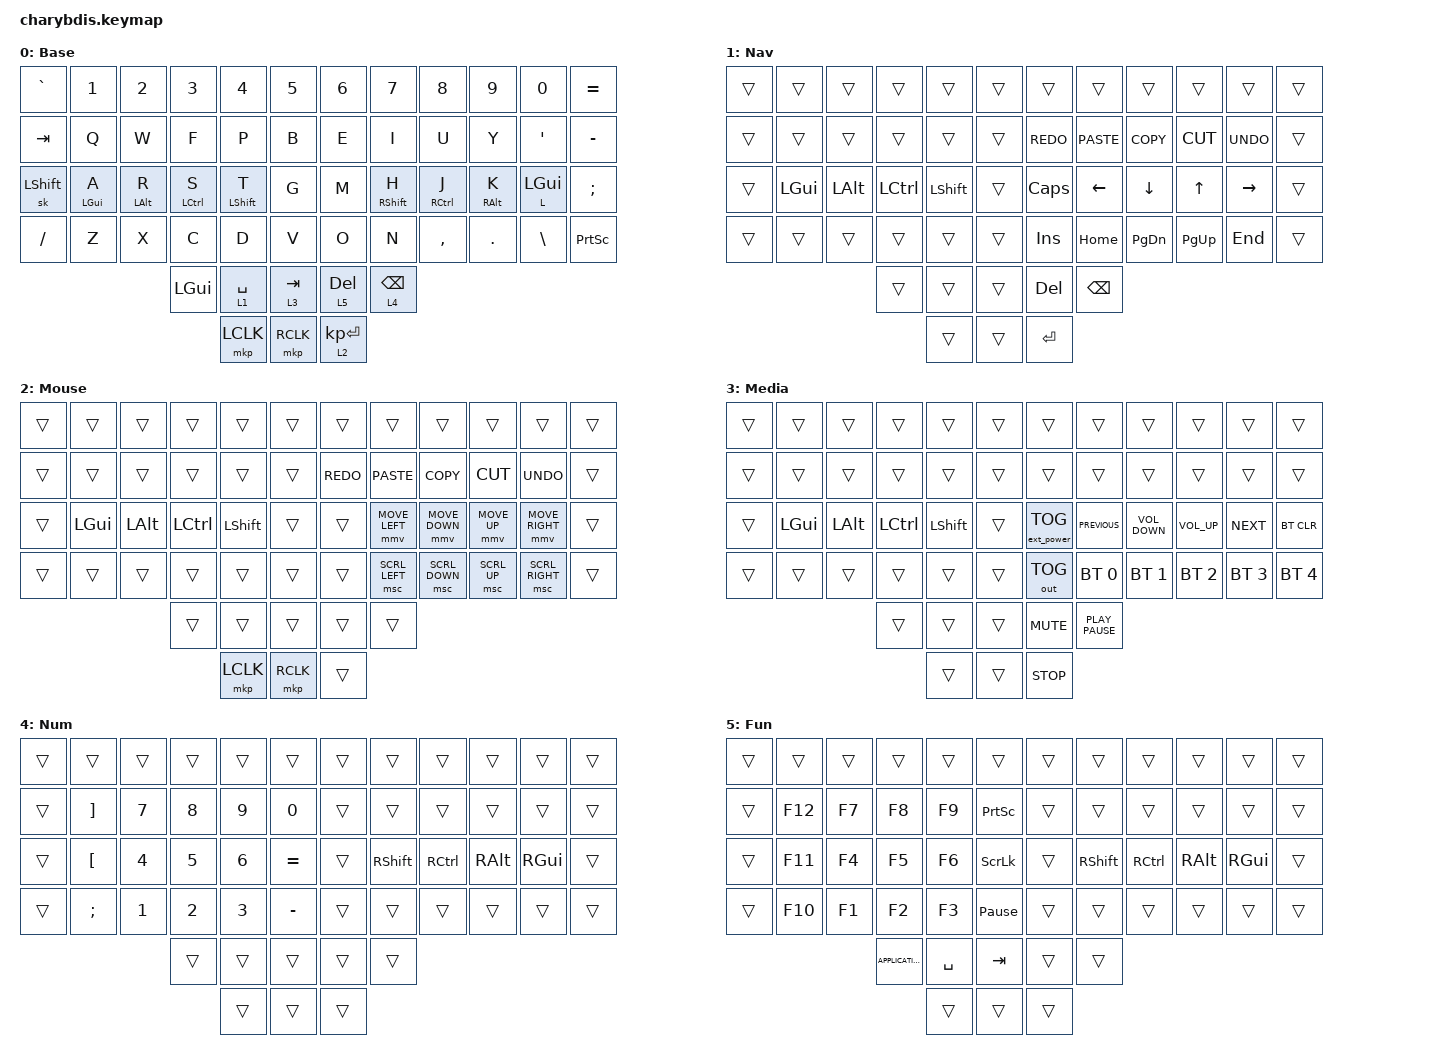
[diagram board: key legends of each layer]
#include <dt-bindings/zmk/mouse.h>
#include <behaviors/mouse_keys.dtsi>
#include "macros.dtsi"
#include <behaviors.dtsi>
#include <dt-bindings/zmk/bt.h>
#include <dt-bindings/zmk/ext_power.h>
#include <dt-bindings/zmk/keys.h>
#include <dt-bindings/zmk/outputs.h>
#include <dt-bindings/zmk/pointing.h>

// / {
//     chosen { zmk,matrix_transform = &default_transform; };
// };

/ {
    /* input config for mouse move mode */

    trackball_listener {
        compatible = "zmk,input-behavior-listener";
        device = <&vtrackball>;
        layers = <0 2>;
        evt-type = <INPUT_EV_REL>;
        x-input-code = <INPUT_REL_X>;
        y-input-code = <INPUT_REL_Y>;
        scale-multiplier = <1>;
        scale-divisor = <2>;

        // bindings = <&ib_toggle_layer 7>;
    };

    /* input config for snipe mode */

    trackball_snipe_listener {
        compatible = "zmk,input-behavior-listener";
        device = <&vtrackball>;
        layers = <3>;
        evt-type = <INPUT_EV_REL>;
        x-input-code = <INPUT_REL_X>;
        y-input-code = <INPUT_REL_Y>;
        scale-multiplier = <1>;
        scale-divisor = <4>;
    };

    /* input config for mouse scroll mode */

    trackball_scroll_listener {
        compatible = "zmk,input-behavior-listener";
        device = <&vtrackball>;
        layers = <1>;
        evt-type = <INPUT_EV_REL>;
        x-input-code = <INPUT_REL_MISC>;
        y-input-code = <INPUT_REL_WHEEL>;
        y-invert;
        bindings = <&ib_wheel_scaler 1 14>;
    };

    /* define a resolution down scaler only for INPUT_REL_WHEEL */

    ib_wheel_scaler: ib_wheel_scaler {
        compatible = "zmk,input-behavior-scaler";
        #binding-cells = <2>;
        evt-type = <INPUT_EV_REL>;
        input-code = <INPUT_REL_WHEEL>;
    };

    /* adjust cooldown waiting period for mouse key layer after activated */

    ib_toggle_layer: ib_toggle_layer {
        compatible = "zmk,input-behavior-tog-layer";
        #binding-cells = <1>;
        time-to-live-ms = <750>;
    };

    #define DEF 0
#define MOD 1
#define INT 2

    keymap {
        compatible = "zmk,keymap";

        Base {
            bindings = <
&kp GRAVE   &kp N1      &kp N2      &kp N3       &kp N4        &kp N5       &kp N6          &kp N7           &kp N8       &kp N9           &kp N0            &kp EQUAL
&kp TAB     &kp Q       &kp W       &kp F        &kp P         &kp B        &kp E           &kp I            &kp U        &kp Y            &kp SINGLE_QUOTE  &kp MINUS
&sk LSHIFT  &mt LGUI A  &mt LALT R  &mt LCTRL S  &mt LSHIFT T  &kp G        &kp M           &mt RSHIFT H     &mt RCTRL J  &mt RIGHT_ALT K  &mt L LGUI        &kp SEMI
&kp SLASH   &kp Z       &kp X       &kp C        &kp D         &kp V        &kp O           &kp N            &kp COMMA    &kp DOT          &kp BACKSLASH     &kp PRINTSCREEN
                                    &kp LGUI     &lt 1 SPACE   &lt 3 TAB    &lt 5 DELETE    &lt 4 BACKSPACE
                                                 &mkp LCLK     &mkp RCLK    &lt 2 KP_ENTER
            >;
        };

        Nav {
            bindings = <
&trans  &trans    &trans    &trans     &trans     &trans    &trans      &trans       &trans      &trans     &trans      &trans
&trans  &trans    &trans    &trans     &trans     &trans    &kp K_REDO  &kp K_PASTE  &kp K_COPY  &kp K_CUT  &kp K_UNDO  &trans
&trans  &kp LGUI  &kp LALT  &kp LCTRL  &kp LSHFT  &trans    &kp CAPS    &kp LEFT     &kp DOWN    &kp UP     &kp RIGHT   &trans
&trans  &trans    &trans    &trans     &trans     &trans    &kp INSERT  &kp HOME     &kp PG_DN   &kp PG_UP  &kp END     &trans
                            &trans     &trans     &trans    &kp DEL     &kp BSPC
                                       &trans     &trans    &kp ENTER
            >;
        };

        Mouse {
            bindings = <
&trans  &trans    &trans        &trans     &trans      &trans       &trans      &trans          &trans          &trans        &trans           &trans
&trans  &trans    &trans        &trans     &trans      &trans       &kp K_REDO  &kp K_PASTE     &kp K_COPY      &kp K_CUT     &kp K_UNDO       &trans
&trans  &kp LGUI  &kp LEFT_ALT  &kp LCTRL  &kp LSHIFT  &trans       &trans      &mmv MOVE_LEFT  &mmv MOVE_DOWN  &mmv MOVE_UP  &mmv MOVE_RIGHT  &trans
&trans  &trans    &trans        &trans     &trans      &trans       &trans      &msc SCRL_LEFT  &msc SCRL_DOWN  &msc SCRL_UP  &msc SCRL_RIGHT  &trans
                                &trans     &trans      &trans       &trans      &trans
                                           &mkp LCLK   &mkp RCLK    &trans
            >;
        };

        Media {
            bindings = <
&trans  &trans    &trans        &trans     &trans      &trans    &trans             &trans            &trans             &trans           &trans        &trans
&trans  &trans    &trans        &trans     &trans      &trans    &trans             &trans            &trans             &trans           &trans        &trans
&trans  &kp LGUI  &kp LEFT_ALT  &kp LCTRL  &kp LSHIFT  &trans    &ext_power EP_TOG  &kp K_PREVIOUS    &kp K_VOLUME_DOWN  &kp K_VOLUME_UP  &kp K_NEXT    &bt BT_CLR
&trans  &trans    &trans        &trans     &trans      &trans    &out OUT_TOG       &bt BT_SEL 0      &bt BT_SEL 1       &bt BT_SEL 2     &bt BT_SEL 3  &bt BT_SEL 4
                                &trans     &trans      &trans    &kp K_MUTE         &kp K_PLAY_PAUSE
                                           &trans      &trans    &kp K_STOP
            >;
        };

        Num {
            bindings = <
&trans  &trans             &trans        &trans        &trans        &trans       &trans  &trans      &trans     &trans    &trans    &trans
&trans  &kp RIGHT_BRACKET  &kp N7        &kp N8        &kp N9        &kp N0       &trans  &trans      &trans     &trans    &trans    &trans
&trans  &kp LEFT_BRACKET   &kp NUMBER_4  &kp N5        &kp NUMBER_6  &kp EQUAL    &trans  &kp RSHIFT  &kp RCTRL  &kp RALT  &kp RGUI  &trans
&trans  &kp SEMI           &kp NUMBER_1  &kp NUMBER_2  &kp NUMBER_3  &kp MINUS    &trans  &trans      &trans     &trans    &trans    &trans
                                         &trans        &trans        &trans       &trans  &trans
                                                       &trans        &trans       &trans
            >;
        };

        Fun {
            bindings = <
&trans  &trans   &trans  &trans             &trans     &trans             &trans  &trans      &trans     &trans    &trans    &trans
&trans  &kp F12  &kp F7  &kp F8             &kp F9     &kp PRINTSCREEN    &trans  &trans      &trans     &trans    &trans    &trans
&trans  &kp F11  &kp F4  &kp F5             &kp F6     &kp SCROLLLOCK     &trans  &kp RSHIFT  &kp RCTRL  &kp RALT  &kp RGUI  &trans
&trans  &kp F10  &kp F1  &kp F2             &kp F3     &kp PAUSE_BREAK    &trans  &trans      &trans     &trans    &trans    &trans
                         &kp K_APPLICATION  &kp SPACE  &kp TAB            &trans  &trans
                                            &trans     &trans             &trans
            >;
        };
    };
};
